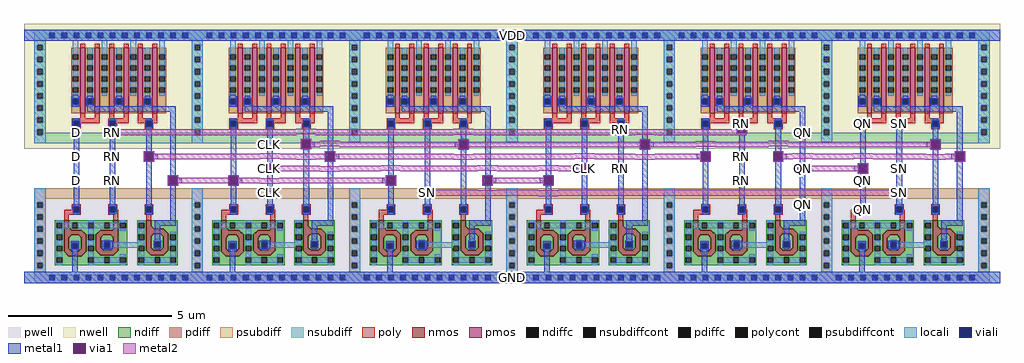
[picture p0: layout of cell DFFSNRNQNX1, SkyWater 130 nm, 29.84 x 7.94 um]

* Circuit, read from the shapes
.subckt DFFSNRNQNX1 QN D CLK SN RN VDD GND
XM1 n1 D GND GND sky130_fd_pr__nfet_01v8 w=2.6 l=0.1469
XM2 n1 RN n2 GND sky130_fd_pr__nfet_01v8 w=2.52 l=0.1484
XM3 n2 n3 n4 GND sky130_fd_pr__nfet_01v8 w=2.56 l=0.1468
XM4 n5 n4 GND GND sky130_fd_pr__nfet_01v8 w=2.6 l=0.1479
XM5 n5 CLK n6 GND sky130_fd_pr__nfet_01v8 w=2.52 l=0.1481
XM6 n6 n7 n3 GND sky130_fd_pr__nfet_01v8 w=2.56 l=0.1467
XM7 n8 n4 GND GND sky130_fd_pr__nfet_01v8 w=2.6 l=0.1473
XM8 n8 SN n9 GND sky130_fd_pr__nfet_01v8 w=2.52 l=0.1484
XM9 n9 n7 n10 GND sky130_fd_pr__nfet_01v8 w=2.56 l=0.1468
XM10 n11 n10 GND GND sky130_fd_pr__nfet_01v8 w=2.6 l=0.1473
XM11 n11 CLK n12 GND sky130_fd_pr__nfet_01v8 w=2.52 l=0.148
XM12 n12 RN n7 GND sky130_fd_pr__nfet_01v8 w=2.56 l=0.1468
XM13 n13 n3 GND GND sky130_fd_pr__nfet_01v8 w=2.6 l=0.1472
XM14 n13 RN n14 GND sky130_fd_pr__nfet_01v8 w=2.52 l=0.1484
XM15 n14 n15 QN GND sky130_fd_pr__nfet_01v8 w=2.56 l=0.1468
XM16 n16 QN GND GND sky130_fd_pr__nfet_01v8 w=2.6 l=0.1473
XM17 n16 SN n17 GND sky130_fd_pr__nfet_01v8 w=2.52 l=0.1483
XM18 n17 n7 n15 GND sky130_fd_pr__nfet_01v8 w=2.56 l=0.1468
XM19 n4 D VDD VDD sky130_fd_pr__pfet_01v8 w=2 l=0.15 m=2
XM20 n4 RN VDD VDD sky130_fd_pr__pfet_01v8 w=2 l=0.15 m=2
XM21 n4 n3 VDD VDD sky130_fd_pr__pfet_01v8 w=2 l=0.15 m=2
XM22 n3 n4 VDD VDD sky130_fd_pr__pfet_01v8 w=2 l=0.15 m=2
XM23 n3 CLK VDD VDD sky130_fd_pr__pfet_01v8 w=2 l=0.15 m=2
XM24 n3 n7 VDD VDD sky130_fd_pr__pfet_01v8 w=2 l=0.15 m=2
XM25 n10 n4 VDD VDD sky130_fd_pr__pfet_01v8 w=2 l=0.15 m=2
XM26 n10 SN VDD VDD sky130_fd_pr__pfet_01v8 w=2 l=0.15 m=2
XM27 n10 n7 VDD VDD sky130_fd_pr__pfet_01v8 w=2 l=0.15 m=2
XM28 n7 n10 VDD VDD sky130_fd_pr__pfet_01v8 w=2 l=0.15 m=2
XM29 n7 CLK VDD VDD sky130_fd_pr__pfet_01v8 w=2 l=0.15 m=2
XM30 n7 RN VDD VDD sky130_fd_pr__pfet_01v8 w=2 l=0.15 m=2
XM31 QN n3 VDD VDD sky130_fd_pr__pfet_01v8 w=2 l=0.15 m=2
XM32 QN RN VDD VDD sky130_fd_pr__pfet_01v8 w=2 l=0.15 m=2
XM33 QN n15 VDD VDD sky130_fd_pr__pfet_01v8 w=2 l=0.15 m=2
XM34 n15 QN VDD VDD sky130_fd_pr__pfet_01v8 w=2 l=0.15 m=2
XM35 n15 SN VDD VDD sky130_fd_pr__pfet_01v8 w=2 l=0.15 m=2
XM36 n15 n7 VDD VDD sky130_fd_pr__pfet_01v8 w=2 l=0.15 m=2
.ends

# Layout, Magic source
magic
tech sky130A
magscale 1 2
<< nwell >>
rect 0 900 5968 1588
rect 0 897 4358 900
rect 0 894 3687 897
rect 0 888 588 894
rect 592 889 3687 894
rect 3695 889 4358 897
rect 592 888 4358 889
rect 0 881 4358 888
rect 4366 881 5968 900
rect 0 822 5968 881
<< pwell >>
rect 155 19 189 53
rect 64 0 5904 12
<< psubdiff >>
rect 64 0 5904 12
<< nsubdiff >>
rect 64 1550 5904 1552
<< locali >>
rect 0 1482 5968 1552
rect 0 0 5968 70
<< metal1 >>
rect 0 1482 5968 1552
rect 4743 981 4777 1015
rect 3617 971 3681 977
rect 510 953 574 959
rect 303 907 337 941
rect 510 901 516 953
rect 568 901 574 953
rect 3617 919 3623 971
rect 3675 919 3681 971
rect 3617 913 3681 919
rect 4357 973 4421 979
rect 4357 921 4363 973
rect 4415 921 4421 973
rect 4357 915 4421 921
rect 4373 907 4407 915
rect 4743 907 4777 941
rect 5113 907 5147 941
rect 510 895 574 901
rect 1692 877 1756 883
rect 303 833 337 867
rect 525 833 559 867
rect 1487 833 1521 867
rect 1692 825 1698 877
rect 1750 825 1756 877
rect 1692 819 1756 825
rect 2656 876 2720 882
rect 2656 824 2662 876
rect 2714 824 2720 876
rect 2656 818 2720 824
rect 3766 875 3830 881
rect 3766 823 3772 875
rect 3824 823 3830 875
rect 3766 817 3830 823
rect 5542 875 5606 881
rect 5542 823 5548 875
rect 5600 823 5606 875
rect 5542 817 5606 823
rect 732 802 796 808
rect 303 759 337 793
rect 525 759 559 793
rect 732 750 738 802
rect 790 750 796 802
rect 732 744 796 750
rect 1840 803 1904 809
rect 1840 751 1846 803
rect 1898 751 1904 803
rect 1840 745 1904 751
rect 4135 802 4199 808
rect 4135 750 4141 802
rect 4193 750 4199 802
rect 4580 803 4644 809
rect 4373 759 4407 793
rect 4135 744 4199 750
rect 4580 751 4586 803
rect 4638 751 4644 803
rect 4580 745 4644 751
rect 5690 802 5754 808
rect 5690 750 5696 802
rect 5748 750 5754 802
rect 5690 744 5754 750
rect 1472 729 1536 735
rect 303 685 337 719
rect 525 685 559 719
rect 1472 677 1478 729
rect 1530 677 1536 729
rect 1472 671 1536 677
rect 3396 727 3460 733
rect 3396 675 3402 727
rect 3454 675 3460 727
rect 4728 729 4792 735
rect 3633 685 3667 719
rect 4373 685 4407 719
rect 3396 669 3460 675
rect 4728 677 4734 729
rect 4786 677 4792 729
rect 4728 671 4792 677
rect 5098 728 5162 734
rect 5098 676 5104 728
rect 5156 676 5162 728
rect 5098 670 5162 676
rect 880 655 944 661
rect 303 611 337 645
rect 525 611 559 645
rect 880 603 886 655
rect 938 603 944 655
rect 880 597 944 603
rect 1250 654 1314 660
rect 1250 602 1256 654
rect 1308 602 1314 654
rect 1250 596 1314 602
rect 2212 654 2276 660
rect 2212 602 2218 654
rect 2270 602 2276 654
rect 2212 596 2276 602
rect 2803 655 2867 661
rect 2803 603 2809 655
rect 2861 603 2867 655
rect 2803 597 2867 603
rect 3174 654 3238 660
rect 3174 602 3180 654
rect 3232 602 3238 654
rect 3411 611 3445 645
rect 3633 611 3667 645
rect 4373 611 4407 645
rect 4743 611 4777 645
rect 5113 611 5147 645
rect 3174 596 3238 602
rect 2434 581 2498 587
rect 303 537 337 571
rect 525 537 559 571
rect 1487 537 1521 571
rect 2434 529 2440 581
rect 2492 529 2498 581
rect 2434 523 2498 529
rect 5320 580 5384 586
rect 5320 528 5326 580
rect 5378 528 5384 580
rect 5320 522 5384 528
rect 4743 463 4777 497
rect 5113 463 5147 497
rect 0 0 5968 70
<< via1 >>
rect 516 901 568 953
rect 3623 919 3675 971
rect 4363 921 4415 973
rect 1698 825 1750 877
rect 2662 824 2714 876
rect 3772 823 3824 875
rect 5548 823 5600 875
rect 738 750 790 802
rect 1846 751 1898 803
rect 4141 750 4193 802
rect 4586 751 4638 803
rect 5696 750 5748 802
rect 1478 677 1530 729
rect 3402 675 3454 727
rect 4734 677 4786 729
rect 5104 676 5156 728
rect 886 603 938 655
rect 1256 602 1308 654
rect 2218 602 2270 654
rect 2809 603 2861 655
rect 3180 602 3232 654
rect 2440 529 2492 581
rect 5326 528 5378 580
<< metal2 >>
rect 3617 971 3681 977
rect 510 953 574 959
rect 510 901 516 953
rect 568 941 574 953
rect 1664 941 1784 945
rect 2628 941 2748 944
rect 3617 941 3623 971
rect 568 919 3623 941
rect 3675 941 3681 971
rect 4357 973 4421 979
rect 3738 941 3858 943
rect 4357 941 4363 973
rect 3675 921 4363 941
rect 4415 921 4421 973
rect 3675 919 4421 921
rect 568 915 4421 919
rect 568 911 4415 915
rect 568 907 1664 911
rect 1784 910 4415 911
rect 1784 907 2628 910
rect 2748 909 4415 910
rect 2748 907 3738 909
rect 3858 907 4415 909
rect 568 901 574 907
rect 510 895 574 901
rect 1692 877 1756 883
rect 1692 825 1698 877
rect 1750 867 1756 877
rect 2656 876 2720 882
rect 1812 867 1932 871
rect 2656 867 2662 876
rect 1750 837 2662 867
rect 1750 833 1812 837
rect 1932 833 2662 837
rect 1750 825 1756 833
rect 1692 819 1756 825
rect 2656 824 2662 833
rect 2714 867 2720 876
rect 3766 875 3830 881
rect 3766 867 3772 875
rect 2714 833 3772 867
rect 2714 824 2720 833
rect 2656 818 2720 824
rect 3766 823 3772 833
rect 3824 867 3830 875
rect 5542 875 5606 881
rect 4107 867 4227 870
rect 4552 867 4672 871
rect 5542 867 5548 875
rect 3824 837 5548 867
rect 3824 836 4552 837
rect 3824 833 4107 836
rect 4227 833 4552 836
rect 4672 833 5548 837
rect 3824 823 3830 833
rect 3766 817 3830 823
rect 5542 823 5548 833
rect 5600 823 5606 875
rect 5542 817 5606 823
rect 732 802 796 808
rect 732 750 738 802
rect 790 793 796 802
rect 1840 803 1904 809
rect 1444 793 1564 797
rect 1840 793 1846 803
rect 790 791 1664 793
rect 1784 791 1846 793
rect 790 763 1846 791
rect 790 759 1444 763
rect 1564 759 1846 763
rect 790 750 796 759
rect 1664 757 1784 759
rect 732 744 796 750
rect 1840 751 1846 759
rect 1898 793 1904 803
rect 4135 802 4199 808
rect 3368 793 3489 795
rect 4135 793 4141 802
rect 1898 790 2628 793
rect 2748 790 3738 793
rect 1898 789 3738 790
rect 3858 789 4141 793
rect 1898 761 4141 789
rect 1898 759 3368 761
rect 3489 759 4141 761
rect 1898 751 1904 759
rect 2628 756 2748 759
rect 3738 755 3858 759
rect 1840 745 1904 751
rect 4135 750 4141 759
rect 4193 750 4199 802
rect 4135 744 4199 750
rect 4580 803 4644 809
rect 4580 751 4586 803
rect 4638 793 4644 803
rect 5690 802 5754 808
rect 4700 793 4820 797
rect 5070 793 5190 796
rect 5690 793 5696 802
rect 4638 789 5514 793
rect 5634 789 5696 793
rect 4638 763 5696 789
rect 4638 759 4700 763
rect 4820 762 5696 763
rect 4820 759 5070 762
rect 5190 759 5696 762
rect 4638 751 4644 759
rect 5514 755 5634 759
rect 4580 745 4644 751
rect 5690 750 5696 759
rect 5748 750 5754 802
rect 5690 744 5754 750
rect 1472 729 1536 735
rect 1472 677 1478 729
rect 1530 719 1536 729
rect 3396 727 3460 733
rect 2184 719 2304 722
rect 2775 719 2895 723
rect 3146 719 3266 722
rect 3396 719 3402 727
rect 1530 717 1812 719
rect 1932 717 3402 719
rect 1530 689 3402 717
rect 1530 688 2775 689
rect 1530 685 2184 688
rect 2304 685 2775 688
rect 2895 688 3402 689
rect 2895 685 3146 688
rect 3266 685 3402 688
rect 1530 677 1536 685
rect 1812 683 1932 685
rect 1472 671 1536 677
rect 3396 675 3402 685
rect 3454 675 3460 727
rect 3396 669 3460 675
rect 4728 729 4792 735
rect 4728 677 4734 729
rect 4786 719 4792 729
rect 5098 728 5162 734
rect 5098 719 5104 728
rect 4786 685 5104 719
rect 4786 677 4792 685
rect 4728 671 4792 677
rect 5098 676 5104 685
rect 5156 676 5162 728
rect 5098 670 5162 676
rect 880 655 944 661
rect 880 603 886 655
rect 938 646 944 655
rect 1250 654 1314 660
rect 1250 646 1256 654
rect 938 612 1256 646
rect 938 603 944 612
rect 880 597 944 603
rect 1250 602 1256 612
rect 1308 646 1314 654
rect 2212 654 2276 660
rect 2212 646 2218 654
rect 1308 643 1444 646
rect 1564 643 2218 646
rect 1308 612 2218 643
rect 1308 602 1314 612
rect 1444 609 1564 612
rect 1250 596 1314 602
rect 2212 602 2218 612
rect 2270 602 2276 654
rect 2212 596 2276 602
rect 2803 655 2867 661
rect 2803 603 2809 655
rect 2861 645 2867 655
rect 3174 654 3238 660
rect 3174 645 3180 654
rect 2861 611 3180 645
rect 2861 603 2867 611
rect 2803 597 2867 603
rect 3174 602 3180 611
rect 3232 602 3238 654
rect 3174 596 3238 602
rect 2434 581 2498 587
rect 2434 529 2440 581
rect 2492 571 2498 581
rect 5320 580 5384 586
rect 5320 571 5326 580
rect 2492 569 2775 571
rect 2895 569 3146 571
rect 2492 568 3146 569
rect 3266 568 5326 571
rect 2492 537 5326 568
rect 2492 529 2498 537
rect 2775 535 2895 537
rect 3146 534 3266 537
rect 2434 523 2498 529
rect 5320 528 5326 537
rect 5378 528 5384 580
rect 5320 522 5384 528
use li1_M1_contact  li1_M1_contact_1
transform -1 0 764 0 -1 776
box -53 -33 29 33
use li1_M1_contact  li1_M1_contact_3
transform -1 0 912 0 -1 629
box -53 -33 29 33
use li1_M1_contact  li1_M1_contact_4
transform -1 0 1725 0 -1 850
box -53 -33 29 33
use li1_M1_contact  li1_M1_contact_5
transform -1 0 1282 0 -1 629
box -53 -33 29 33
use li1_M1_contact  li1_M1_contact_6
transform -1 0 1504 0 -1 702
box -53 -33 29 33
use li1_M1_contact  li1_M1_contact_7
transform -1 0 1874 0 -1 776
box -53 -33 29 33
use li1_M1_contact  li1_M1_contact_8
transform 1 0 2244 0 1 629
box -53 -33 29 33
use li1_M1_contact  li1_M1_contact_9
transform 1 0 2688 0 1 850
box -53 -33 29 33
use li1_M1_contact  li1_M1_contact_10
transform -1 0 2466 0 -1 555
box -53 -33 29 33
use li1_M1_contact  li1_M1_contact_11
transform -1 0 2836 0 -1 628
box -53 -33 29 33
use li1_M1_contact  li1_M1_contact_13
transform -1 0 3798 0 -1 850
box -53 -33 29 33
use li1_M1_contact  li1_M1_contact_14
transform -1 0 4612 0 -1 776
box -53 -33 29 33
use li1_M1_contact  li1_M1_contact_15
transform -1 0 4760 0 -1 702
box -53 -33 29 33
use li1_M1_contact  li1_M1_contact_16
transform 1 0 3428 0 1 702
box -53 -33 29 33
use li1_M1_contact  li1_M1_contact_17
transform 1 0 3206 0 1 628
box -53 -33 29 33
use li1_M1_contact  li1_M1_contact_19
transform 1 0 4168 0 1 776
box -53 -33 29 33
use li1_M1_contact  li1_M1_contact_20
transform 1 0 5574 0 1 850
box -53 -33 29 33
use li1_M1_contact  li1_M1_contact_21
transform 1 0 5130 0 1 702
box -53 -33 29 33
use li1_M1_contact  li1_M1_contact_22
transform 1 0 5352 0 1 554
box -53 -33 29 33
use li1_M1_contact  li1_M1_contact_23
transform 1 0 5722 0 1 776
box -53 -33 29 33
use nand3x1_pcell  nand3x1_pcell_0
transform 1 0 98 0 1 36
box -87 -34 1049 1550
use nand3x1_pcell  nand3x1_pcell_1
transform 1 0 1060 0 1 36
box -87 -34 1049 1550
use nand3x1_pcell  nand3x1_pcell_2
transform 1 0 2022 0 1 36
box -87 -34 1049 1550
use nand3x1_pcell  nand3x1_pcell_3
transform 1 0 2984 0 1 36
box -87 -34 1049 1550
use nand3x1_pcell  nand3x1_pcell_4
transform 1 0 3946 0 1 36
box -87 -34 1049 1550
use nand3x1_pcell  nand3x1_pcell_5
transform 1 0 4908 0 1 36
box -87 -34 1049 1550
<< labels >>
rlabel metal1 4743 685 4777 719 1 QN
port 1 nsew signal output
rlabel metal1 303 611 337 645 1 D
port 2 nsew signal input
rlabel metal1 1487 685 1521 719 1 CLK
port 3 nsew signal input
rlabel metal1 525 907 559 941 1 RN
port 5 nsew signal input
rlabel metal1 4743 611 4777 645 1 QN
port 1 nsew signal output
rlabel metal1 4743 463 4777 497 1 QN
port 1 nsew signal output
rlabel metal1 4743 907 4777 941 1 QN
port 1 nsew signal output
rlabel metal1 4743 981 4777 1015 1 QN
port 1 nsew signal output
rlabel metal1 5113 611 5147 645 1 QN
port 1 nsew signal output
rlabel metal1 5113 685 5147 719 1 QN
port 1 nsew signal output
rlabel metal1 303 685 337 719 1 D
port 2 nsew signal input
rlabel metal1 303 759 337 793 1 D
port 2 nsew signal input
rlabel metal1 303 833 337 867 1 D
port 2 nsew signal input
rlabel metal1 303 907 337 941 1 D
port 2 nsew signal input
rlabel metal1 303 537 337 571 1 D
port 2 nsew signal input
rlabel metal1 1487 537 1521 571 1 CLK
port 3 nsew signal input
rlabel metal1 1487 833 1521 867 1 CLK
port 3 nsew signal input
rlabel metal1 3411 685 3445 719 1 CLK
port 3 nsew signal input
rlabel metal1 3411 611 3445 645 1 CLK
port 3 nsew signal input
rlabel metal1 525 833 559 867 1 RN
port 5 nsew signal input
rlabel metal1 525 759 559 793 1 RN
port 5 nsew signal input
rlabel metal1 525 685 559 719 1 RN
port 5 nsew signal input
rlabel metal1 525 611 559 645 1 RN
port 5 nsew signal input
rlabel metal1 525 537 559 571 1 RN
port 5 nsew signal input
rlabel metal1 3633 685 3667 719 1 RN
port 5 nsew signal input
rlabel metal1 3633 611 3667 645 1 RN
port 5 nsew signal input
rlabel metal1 4373 611 4407 645 1 RN
port 5 nsew signal input
rlabel metal1 4373 685 4407 719 1 RN
port 5 nsew signal input
rlabel metal1 4373 759 4407 793 1 RN
port 5 nsew signal input
rlabel metal1 0 1482 5968 1552 1 VDD
port 6 nsew power bidirectional abutment
rlabel metal1 0 0 5968 70 1 GND
port 7 nsew ground bidirectional abutment
rlabel metal1 3633 923 3667 957 1 RN
port 5 nsew signal input
rlabel metal1 2449 537 2483 571 1 SN
port 4 nsew signal input
rlabel metal1 4373 959 4407 993 1 RN
port 5 nsew signal input
rlabel metal1 5113 959 5147 993 1 QN
port 1 nsew signal output
rlabel metal1 5113 435 5147 469 1 QN
port 1 nsew signal output
rlabel metal1 5335 537 5369 571 1 SN
port 4 nsew signal input
rlabel metal1 5335 611 5369 645 1 SN
port 4 nsew signal input
rlabel metal1 5335 685 5369 719 1 SN
port 4 nsew signal input
rlabel metal1 5335 959 5369 993 1 SN
port 4 nsew signal input
<< properties >>
string FIXED_BBOX 0 0 5968 1552
string LEFclass CORE
string LEFsite unitrh
string LEFsymmetry X Y
<< end >>

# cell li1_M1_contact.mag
magic
tech sky130A
magscale 1 2
<< locali >>
rect -17 17 17 33
rect -17 -33 17 -17
<< viali >>
rect -17 -17 17 17
<< metal1 >>
rect -23 17 23 23
rect -53 -17 -17 17
rect 17 -17 29 17
rect -23 -23 23 -17
<< end >>

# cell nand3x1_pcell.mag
magic
tech sky130A
magscale 1 2
<< nwell >>
rect 87 1099 875 1550
rect 87 1093 220 1099
rect 87 1059 205 1093
rect 229 1059 263 1093
rect 87 1056 220 1059
rect 279 1056 875 1099
rect 87 786 875 1056
<< pwell >>
rect 34 -34 928 544
<< pdiffc >>
rect 201 1059 235 1093
rect 289 1059 323 1093
rect 465 1059 499 1093
rect 641 1059 675 1093
<< psubdiff >>
rect 34 482 928 544
rect 34 -17 57 17
rect 91 -17 131 17
rect 165 -17 205 17
rect 239 -17 279 17
rect 313 -17 353 17
rect 387 -17 427 17
rect 461 -17 501 17
rect 535 -17 575 17
rect 609 -17 649 17
rect 683 -17 723 17
rect 757 -17 797 17
rect 831 -17 871 17
rect 905 -17 928 17
rect 34 -34 928 -17
<< nsubdiff >>
rect 34 1497 928 1514
rect 34 1463 57 1497
rect 91 1463 131 1497
rect 165 1463 205 1497
rect 239 1463 279 1497
rect 313 1463 353 1497
rect 387 1463 427 1497
rect 461 1463 501 1497
rect 535 1463 575 1497
rect 609 1463 649 1497
rect 683 1463 723 1497
rect 757 1463 797 1497
rect 831 1463 871 1497
rect 905 1463 928 1497
rect 34 822 928 884
<< psubdiffcont >>
rect 57 -17 91 17
rect 131 -17 165 17
rect 205 -17 239 17
rect 279 -17 313 17
rect 353 -17 387 17
rect 427 -17 461 17
rect 501 -17 535 17
rect 575 -17 609 17
rect 649 -17 683 17
rect 723 -17 757 17
rect 797 -17 831 17
rect 871 -17 905 17
<< nsubdiffcont >>
rect 57 1463 91 1497
rect 131 1463 165 1497
rect 205 1463 239 1497
rect 279 1463 313 1497
rect 353 1463 387 1497
rect 427 1463 461 1497
rect 501 1463 535 1497
rect 575 1463 609 1497
rect 649 1463 683 1497
rect 723 1463 757 1497
rect 797 1463 831 1497
rect 871 1463 905 1497
<< poly >>
rect 147 383 195 413
rect 471 383 477 413
rect 147 377 177 383
rect 447 377 477 383
<< locali >>
rect 14 1497 943 1514
rect 14 1463 57 1497
rect 91 1463 131 1497
rect 165 1463 205 1497
rect 239 1463 279 1497
rect 313 1463 353 1497
rect 387 1463 427 1497
rect 461 1463 501 1497
rect 535 1463 575 1497
rect 609 1463 649 1497
rect 683 1463 723 1497
rect 757 1463 797 1497
rect 831 1463 871 1497
rect 905 1463 943 1497
rect 14 1446 943 1463
rect 201 1093 235 1120
rect 201 1043 235 1059
rect 289 1093 323 1112
rect 289 1043 323 1059
rect 465 1093 499 1117
rect 465 1043 499 1059
rect 641 1093 675 1112
rect 641 1043 675 1059
rect 427 182 603 216
rect 34 17 930 34
rect 34 -17 57 17
rect 91 -17 131 17
rect 165 -17 205 17
rect 239 -17 279 17
rect 313 -17 353 17
rect 387 -17 427 17
rect 461 -17 501 17
rect 535 -17 575 17
rect 609 -17 649 17
rect 683 -17 723 17
rect 757 -17 797 17
rect 831 -17 871 17
rect 905 -17 930 17
rect 34 -34 930 -17
<< viali >>
rect 57 1463 91 1497
rect 131 1463 165 1497
rect 205 1463 239 1497
rect 279 1463 313 1497
rect 353 1463 387 1497
rect 427 1463 461 1497
rect 501 1463 535 1497
rect 575 1463 609 1497
rect 649 1463 683 1497
rect 723 1463 757 1497
rect 797 1463 831 1497
rect 871 1463 905 1497
rect 201 1059 235 1093
rect 289 1059 323 1093
rect 465 1059 499 1093
rect 641 1059 675 1093
rect 205 923 239 957
rect 427 923 461 957
rect 649 923 683 957
rect 205 399 239 433
rect 427 399 461 433
rect 649 399 683 433
rect 198 176 232 210
rect 393 182 427 216
rect 700 185 734 219
rect 57 -17 91 17
rect 131 -17 165 17
rect 205 -17 239 17
rect 279 -17 313 17
rect 353 -17 387 17
rect 427 -17 461 17
rect 501 -17 535 17
rect 575 -17 609 17
rect 649 -17 683 17
rect 723 -17 757 17
rect 797 -17 831 17
rect 871 -17 905 17
<< metal1 >>
rect 34 1497 928 1514
rect 34 1463 57 1497
rect 91 1463 131 1497
rect 165 1463 205 1497
rect 239 1463 279 1497
rect 313 1463 353 1497
rect 387 1463 427 1497
rect 461 1463 501 1497
rect 535 1463 575 1497
rect 609 1463 649 1497
rect 683 1463 723 1497
rect 757 1463 797 1497
rect 831 1463 871 1497
rect 905 1463 928 1497
rect 34 1446 928 1463
rect 201 1107 235 1116
rect 193 1093 241 1107
rect 289 1099 323 1111
rect 465 1099 499 1111
rect 641 1099 675 1111
rect 193 1059 201 1093
rect 235 1059 241 1093
rect 193 1043 241 1059
rect 283 1093 330 1099
rect 283 1059 289 1093
rect 323 1059 330 1093
rect 283 1048 330 1059
rect 458 1093 506 1099
rect 458 1059 465 1093
rect 499 1059 506 1093
rect 458 1048 506 1059
rect 635 1093 681 1099
rect 635 1059 641 1093
rect 675 1059 681 1093
rect 635 1048 681 1059
rect 289 1014 831 1048
rect 205 967 239 969
rect 198 957 246 967
rect 427 963 461 969
rect 649 963 683 969
rect 198 923 205 957
rect 239 923 246 957
rect 198 915 246 923
rect 421 957 467 963
rect 421 923 427 957
rect 461 923 467 957
rect 421 917 467 923
rect 643 957 689 963
rect 643 923 649 957
rect 683 923 689 957
rect 205 439 239 915
rect 427 439 461 917
rect 643 914 689 923
rect 649 439 683 914
rect 199 433 245 439
rect 199 399 205 433
rect 239 399 245 433
rect 199 391 245 399
rect 421 433 468 439
rect 421 399 427 433
rect 461 399 468 433
rect 421 391 468 399
rect 643 433 689 439
rect 643 399 649 433
rect 683 399 689 433
rect 643 391 689 399
rect 205 383 239 391
rect 427 383 461 391
rect 649 383 683 391
rect 797 350 831 1014
rect 700 316 831 350
rect 700 225 734 316
rect 189 210 241 222
rect 189 176 198 210
rect 232 176 241 210
rect 189 167 241 176
rect 378 216 445 223
rect 378 182 393 216
rect 427 182 445 216
rect 378 173 445 182
rect 694 219 740 225
rect 694 185 700 219
rect 734 185 740 219
rect 694 179 740 185
rect 700 173 734 179
rect 198 34 232 167
rect 34 17 928 34
rect 34 -17 57 17
rect 91 -17 131 17
rect 165 -17 205 17
rect 239 -17 279 17
rect 313 -17 353 17
rect 387 -17 427 17
rect 461 -17 501 17
rect 535 -17 575 17
rect 609 -17 649 17
rect 683 -17 723 17
rect 757 -17 797 17
rect 831 -17 871 17
rect 905 -17 928 17
rect 34 -34 928 -17
use diff_ring_side  diff_ring_side_0
transform 1 0 962 0 1 0
box -87 -34 87 1550
use diff_ring_side  diff_ring_side_1
transform 1 0 0 0 1 0
box -87 -34 87 1550
use nmos_bottom  nmos_bottom_0
transform -1 0 339 0 1 75
box 0 0 248 302
use nmos_side_left  nmos_side_left_0
transform 1 0 285 0 1 75
box 0 0 248 302
use nmos_top_trim1  nmos_top_trim1_0
transform -1 0 841 0 1 75
box 0 0 248 309
use pmos2  pmos2_0
transform 1 0 103 0 1 1404
box 52 -461 352 42
use pmos2  pmos2_1
transform 1 0 279 0 1 1404
box 52 -461 352 42
use pmos2  pmos2_2
transform 1 0 455 0 1 1404
box 52 -461 352 42
use poly_li1_contact  poly_li1_contact_0
transform 0 1 223 -1 0 941
box -32 -28 34 26
use poly_li1_contact  poly_li1_contact_1
transform 0 -1 221 1 0 415
box -32 -28 34 26
use poly_li1_contact  poly_li1_contact_2
transform 0 -1 443 1 0 415
box -32 -28 34 26
use poly_li1_contact  poly_li1_contact_3
transform 0 -1 443 1 0 939
box -32 -28 34 26
use poly_li1_contact  poly_li1_contact_4
transform 0 -1 665 1 0 415
box -32 -28 34 26
use poly_li1_contact  poly_li1_contact_5
transform 0 1 667 -1 0 941
box -32 -28 34 26
<< end >>

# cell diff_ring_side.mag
magic
tech sky130A
magscale 1 2
<< nwell >>
rect -87 786 87 1550
<< pwell >>
rect -34 -34 34 544
<< psubdiff >>
rect -34 461 34 544
rect -34 427 -17 461
rect 17 427 34 461
rect -34 387 34 427
rect -34 353 -17 387
rect 17 353 34 387
rect -34 313 34 353
rect -34 279 -17 313
rect 17 279 34 313
rect -34 239 34 279
rect -34 205 -17 239
rect 17 205 34 239
rect -34 165 34 205
rect -34 131 -17 165
rect 17 131 34 165
rect -34 91 34 131
rect -34 57 -17 91
rect 17 57 34 91
rect -34 -34 34 57
<< nsubdiff >>
rect -34 1423 34 1514
rect -34 1389 -17 1423
rect 17 1389 34 1423
rect -34 1349 34 1389
rect -34 1315 -17 1349
rect 17 1315 34 1349
rect -34 1275 34 1315
rect -34 1241 -17 1275
rect 17 1241 34 1275
rect -34 1201 34 1241
rect -34 1167 -17 1201
rect 17 1167 34 1201
rect -34 1127 34 1167
rect -34 1093 -17 1127
rect 17 1093 34 1127
rect -34 1053 34 1093
rect -34 1019 -17 1053
rect 17 1019 34 1053
rect -34 979 34 1019
rect -34 945 -17 979
rect 17 945 34 979
rect -34 905 34 945
rect -34 871 -17 905
rect 17 871 34 905
rect -34 822 34 871
<< psubdiffcont >>
rect -17 427 17 461
rect -17 353 17 387
rect -17 279 17 313
rect -17 205 17 239
rect -17 131 17 165
rect -17 57 17 91
<< nsubdiffcont >>
rect -17 1389 17 1423
rect -17 1315 17 1349
rect -17 1241 17 1275
rect -17 1167 17 1201
rect -17 1093 17 1127
rect -17 1019 17 1053
rect -17 945 17 979
rect -17 871 17 905
<< locali >>
rect -34 1423 34 1514
rect -34 1389 -17 1423
rect 17 1389 34 1423
rect -34 1349 34 1389
rect -34 1315 -17 1349
rect 17 1315 34 1349
rect -34 1275 34 1315
rect -34 1241 -17 1275
rect 17 1241 34 1275
rect -34 1201 34 1241
rect -34 1167 -17 1201
rect 17 1167 34 1201
rect -34 1127 34 1167
rect -34 1093 -17 1127
rect 17 1093 34 1127
rect -34 1053 34 1093
rect -34 1019 -17 1053
rect 17 1019 34 1053
rect -34 979 34 1019
rect -34 945 -17 979
rect 17 945 34 979
rect -34 905 34 945
rect -34 871 -17 905
rect 17 871 34 905
rect -34 822 34 871
rect -34 461 34 544
rect -34 427 -17 461
rect 17 427 34 461
rect -34 387 34 427
rect -34 353 -17 387
rect 17 353 34 387
rect -34 313 34 353
rect -34 279 -17 313
rect 17 279 34 313
rect -34 239 34 279
rect -34 205 -17 239
rect 17 205 34 239
rect -34 165 34 205
rect -34 131 -17 165
rect 17 131 34 165
rect -34 91 34 131
rect -34 57 -17 91
rect 17 57 34 91
rect -34 -34 34 57
<< metal1 >>
rect -34 1446 34 1514
rect -34 -34 34 34
<< end >>

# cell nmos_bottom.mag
magic
tech sky130A
magscale 1 2
<< nmos >>
tri 146 215 162 231 se
rect 162 215 192 276
tri 56 185 86 215 se
rect 86 185 192 215
rect 56 84 86 185
tri 86 169 102 185 nw
tri 146 169 162 185 ne
tri 86 84 102 100 sw
tri 146 84 162 100 se
rect 162 84 192 185
tri 56 54 86 84 ne
rect 86 54 162 84
tri 162 54 192 84 nw
<< ndiff >>
rect 0 260 162 276
rect 0 226 10 260
rect 44 226 107 260
rect 141 231 162 260
rect 141 226 146 231
rect 0 215 146 226
tri 146 215 162 231 nw
rect 192 260 248 276
rect 192 226 204 260
rect 238 226 248 260
rect 0 188 56 215
rect 0 154 10 188
rect 44 154 56 188
tri 56 185 86 215 nw
rect 192 188 248 226
rect 0 120 56 154
rect 0 86 10 120
rect 44 86 56 120
rect 0 54 56 86
tri 86 169 102 185 se
rect 102 169 146 185
tri 146 169 162 185 sw
rect 86 135 162 169
rect 86 101 107 135
rect 141 101 162 135
rect 86 100 162 101
tri 86 84 102 100 ne
rect 102 84 146 100
tri 146 84 162 100 nw
rect 192 154 204 188
rect 238 154 248 188
rect 192 120 248 154
rect 192 86 204 120
rect 238 86 248 120
tri 56 54 86 84 sw
tri 162 54 192 84 se
rect 192 54 248 86
rect 0 50 248 54
rect 0 16 10 50
rect 44 16 204 50
rect 238 16 248 50
rect 0 0 248 16
<< ndiffc >>
rect 10 226 44 260
rect 107 226 141 260
rect 204 226 238 260
rect 10 154 44 188
rect 10 86 44 120
rect 107 101 141 135
rect 204 154 238 188
rect 204 86 238 120
rect 10 16 44 50
rect 204 16 238 50
<< poly >>
rect 162 276 192 302
<< locali >>
rect 10 260 44 276
rect 204 260 238 276
rect 44 226 107 260
rect 141 226 204 260
rect 10 188 44 226
rect 10 120 44 154
rect 204 188 238 226
rect 10 50 44 86
rect 107 135 141 151
rect 107 85 141 101
rect 204 120 238 154
rect 10 0 44 16
rect 204 50 238 86
rect 204 0 238 16
<< end >>

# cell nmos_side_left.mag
magic
tech sky130
magscale 1 2
<< nmos >>
rect 162 215 192 276
tri 57 185 87 215 se
rect 87 185 192 215
rect 57 91 87 185
tri 87 169 103 185 nw
tri 146 169 162 185 ne
tri 87 91 103 107 sw
tri 146 91 162 107 se
rect 162 91 192 185
tri 57 61 87 91 ne
rect 87 61 162 91
tri 162 61 192 91 nw
<< ndiff >>
rect 0 260 162 276
rect 0 226 10 260
rect 44 226 107 260
rect 141 226 162 260
rect 0 215 162 226
rect 192 260 248 276
rect 192 226 204 260
rect 238 226 248 260
rect 0 188 57 215
rect 0 154 10 188
rect 44 154 57 188
tri 57 185 87 215 nw
rect 0 120 57 154
rect 0 86 10 120
rect 44 86 57 120
tri 87 169 103 185 se
rect 103 169 146 185
tri 146 169 162 185 sw
rect 87 141 162 169
rect 87 107 108 141
rect 142 107 162 141
tri 87 91 103 107 ne
rect 103 91 146 107
tri 146 91 162 107 nw
rect 0 61 57 86
tri 57 61 87 91 sw
tri 162 61 192 91 se
rect 192 61 248 226
rect 0 50 248 61
rect 0 16 10 50
rect 44 16 107 50
rect 141 16 204 50
rect 238 16 248 50
rect 0 0 248 16
<< ndiffc >>
rect 10 226 44 260
rect 107 226 141 260
rect 204 226 238 260
rect 10 154 44 188
rect 10 86 44 120
rect 108 107 142 141
rect 10 16 44 50
rect 107 16 141 50
rect 204 16 238 50
<< poly >>
rect 162 276 192 302
<< locali >>
rect 10 260 44 276
rect 204 260 238 276
rect 44 226 107 260
rect 141 226 204 260
rect 10 188 44 226
rect 204 210 238 226
rect 10 120 44 154
rect 108 141 142 157
rect 108 91 142 107
rect 10 50 44 86
rect 204 50 238 66
rect 44 16 107 50
rect 141 16 204 50
rect 10 0 44 16
rect 204 0 238 16
<< end >>

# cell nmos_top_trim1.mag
magic
tech sky130
magscale 1 2
<< nmos >>
tri 146 223 162 239 se
rect 162 223 192 276
tri 56 193 86 223 se
rect 86 193 192 223
rect 56 92 86 193
tri 86 177 102 193 nw
tri 146 177 162 193 ne
tri 86 92 102 108 sw
tri 146 92 162 108 se
rect 162 92 192 193
tri 56 62 86 92 ne
rect 86 62 162 92
tri 162 62 192 92 nw
<< ndiff >>
rect 0 239 162 276
rect 0 223 146 239
tri 146 223 162 239 nw
rect 192 260 248 276
rect 192 226 204 260
rect 238 226 248 260
rect 0 188 56 223
tri 56 193 86 223 nw
rect 0 154 10 188
rect 44 154 56 188
rect 0 120 56 154
rect 0 86 10 120
rect 44 86 56 120
tri 86 177 102 193 se
rect 102 177 146 193
tri 146 177 162 193 sw
rect 86 144 162 177
rect 86 110 107 144
rect 141 110 162 144
rect 86 108 162 110
tri 86 92 102 108 ne
rect 102 92 146 108
tri 146 92 162 108 nw
rect 192 188 248 226
rect 192 154 204 188
rect 238 154 248 188
rect 192 120 248 154
rect 0 62 56 86
tri 56 62 86 92 sw
tri 162 62 192 92 se
rect 192 86 204 120
rect 238 86 248 120
rect 192 62 248 86
rect 0 50 248 62
rect 0 16 10 50
rect 44 16 107 50
rect 141 16 204 50
rect 238 16 248 50
rect 0 0 248 16
<< ndiffc >>
rect 204 226 238 260
rect 10 154 44 188
rect 10 86 44 120
rect 107 110 141 144
rect 204 154 238 188
rect 204 86 238 120
rect 10 16 44 50
rect 107 16 141 50
rect 204 16 238 50
<< poly >>
rect 162 276 192 309
<< locali >>
rect 204 260 238 276
rect 10 188 44 204
rect 204 188 238 226
rect 10 120 44 154
rect 107 144 141 161
rect 107 94 141 110
rect 204 120 238 154
rect 10 50 44 86
rect 204 50 238 86
rect 44 16 107 50
rect 141 16 204 50
rect 10 0 44 16
rect 204 0 238 16
<< end >>

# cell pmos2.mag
magic
tech sky130A
magscale 1 2
<< nwell >>
rect 52 -436 352 36
<< pmos >>
rect 144 -400 174 0
rect 232 -400 262 0
<< pdiff >>
rect 88 -38 144 0
rect 88 -72 98 -38
rect 132 -72 144 -38
rect 88 -106 144 -72
rect 88 -140 98 -106
rect 132 -140 144 -106
rect 88 -174 144 -140
rect 88 -208 98 -174
rect 132 -208 144 -174
rect 88 -242 144 -208
rect 88 -276 98 -242
rect 132 -276 144 -242
rect 88 -400 144 -276
rect 174 -38 232 0
rect 174 -72 186 -38
rect 220 -72 232 -38
rect 174 -106 232 -72
rect 174 -140 186 -106
rect 220 -140 232 -106
rect 174 -174 232 -140
rect 174 -208 186 -174
rect 220 -208 232 -174
rect 174 -242 232 -208
rect 174 -276 186 -242
rect 220 -276 232 -242
rect 174 -400 232 -276
rect 262 -38 316 0
rect 262 -72 274 -38
rect 308 -72 316 -38
rect 262 -106 316 -72
rect 262 -140 274 -106
rect 308 -140 316 -106
rect 262 -174 316 -140
rect 262 -208 274 -174
rect 308 -208 316 -174
rect 262 -242 316 -208
rect 262 -276 274 -242
rect 308 -276 316 -242
rect 262 -400 316 -276
<< pdiffc >>
rect 98 -72 132 -38
rect 98 -140 132 -106
rect 98 -208 132 -174
rect 98 -276 132 -242
rect 186 -72 220 -38
rect 186 -140 220 -106
rect 186 -208 220 -174
rect 186 -276 220 -242
rect 274 -72 308 -38
rect 274 -140 308 -106
rect 274 -208 308 -174
rect 274 -276 308 -242
<< poly >>
rect 144 0 174 26
rect 232 0 262 26
rect 144 -431 174 -400
rect 232 -431 262 -400
rect 144 -461 262 -431
<< locali >>
rect 98 -38 132 42
rect 98 -106 132 -72
rect 98 -174 132 -140
rect 98 -242 132 -208
rect 98 -293 132 -276
rect 186 -38 220 0
rect 186 -106 220 -72
rect 186 -174 220 -140
rect 186 -242 220 -208
rect 186 -293 220 -276
rect 274 -38 308 42
rect 274 -106 308 -72
rect 274 -174 308 -140
rect 274 -242 308 -208
rect 274 -293 308 -276
<< end >>

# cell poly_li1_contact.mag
magic
tech sky130
<< poly >>
rect -16 8 17 13
rect -16 -9 -8 8
rect 9 -9 17 8
rect -16 -14 17 -9
<< polycont >>
rect -8 -9 9 8
<< locali >>
rect -16 -9 -8 8
rect 9 -9 17 8
<< end >>
